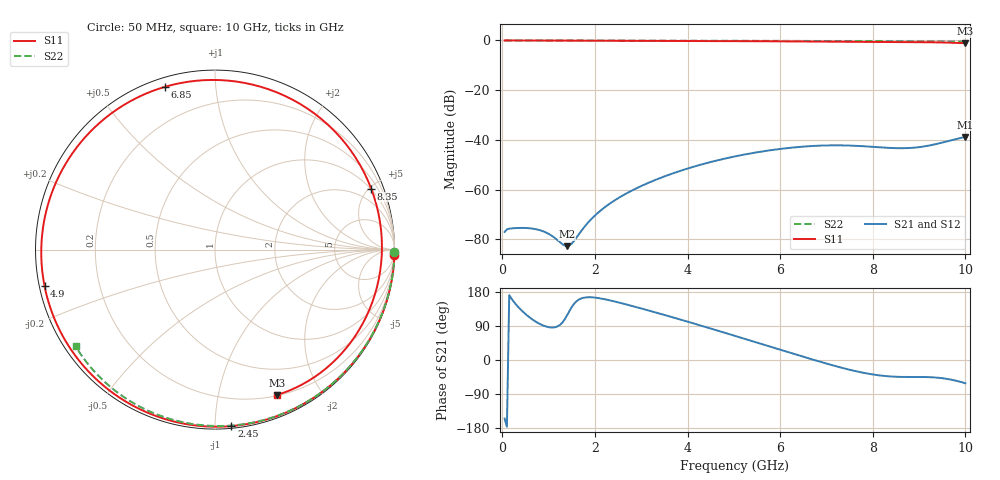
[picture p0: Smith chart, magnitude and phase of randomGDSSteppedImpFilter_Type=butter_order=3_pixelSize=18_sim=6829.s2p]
! freq	dB(S11)	phase(S11)	dB(S12)	phase(S12)
!  dB(S21)	phase(S21)	dB(S22)	phase(S22)
!S-par simulation data
#  GHz  S  DB  R 50
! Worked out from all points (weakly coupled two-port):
!   200 points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, 50 MHz to 10 GHz, reference 50 ohm
!   highest |S21| = -38.81 dB at 10 GHz (marker M1); lowest = -82.8 dB at 1.4 GHz (marker M2)
!   lowest |S11| = -1.1 dB at 10 GHz (marker M3), VSWR 15.74, Z = 10.4 - j74.8 ohm
!   |S11| at or under -10 dB: nowhere
!   |S22| runs from -0.5 to 0.0 dB; largest |S21 - S12| = 0
!   S11 on the Smith chart (normalised r, x): 50 MHz: 0, -64; 2.45 GHz: 0.01, -1.10; 4.9 GHz: 0.01, -0.11; 6.85 GHz: 0.04, +0.74; 8.35 GHz: 0.96, +5.13; 10 GHz: 0.21, -1.50
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0.05  -0.00 -1.8  -77.09 -154.6  -77.09 -154.6  -0.00 -0.8
0.6  -0.02 -21.3  -75.60 111.4  -75.60 111.4  -0.01 -10.1
1.2  -0.05 -42.3  -80.49 89.1  -80.49 89.1  -0.02 -20.0
1.4  -0.06 -49.2  -82.80 118.1  -82.80 118.1  -0.03 -23.3
1.6  -0.07 -56.1  -79.37 154.7  -79.37 154.7  -0.03 -26.5
1.75  -0.08 -61.2  -75.56 164.1  -75.56 164.1  -0.04 -29.0
2.45  -0.11 -84.7  -64.08 153.7  -64.08 153.7  -0.05 -40.2
3.4  -0.15 -116.2  -55.44 122.4  -55.44 122.4  -0.07 -55.0
4.2  -0.20 -143.1  -50.45 94.0  -50.45 94.0  -0.09 -67.1
4.9  -0.25 -167.9  -47.16 68.3  -47.16 68.3  -0.12 -77.3
5.05  -0.27 -173.4  -46.57 62.7  -46.57 62.7  -0.12 -79.5
5.9  -0.35 152.4  -43.91 31.0  -43.91 31.0  -0.16 -91.4
6.7  -0.44 114.8  -42.48 1.3  -42.48 1.3  -0.20 -102.3
6.85  -0.46 107.1  -42.34 -4.1  -42.34 -4.1  -0.21 -104.3
7.2  -0.49 88.3  -42.21 -16.2  -42.21 -16.2  -0.23 -108.9
7.55  -0.53 68.4  -42.34 -27.2  -42.34 -27.2  -0.25 -113.5
8  -0.56 42.0  -42.82 -38.2  -42.82 -38.2  -0.29 -119.4
8.35  -0.59 21.3  -43.24 -43.2  -43.24 -43.2  -0.32 -123.9
8.7  -0.63 1.0  -43.35 -44.8  -43.35 -44.8  -0.35 -128.4
9.05  -0.69 -18.5  -42.82 -44.8  -42.82 -44.8  -0.38 -132.9
9.55  -0.84 -44.8  -40.87 -48.9  -40.87 -48.9  -0.44 -139.4
10  -1.11 -66.8  -38.81 -61.4  -38.81 -61.4  -0.49 -145.2
